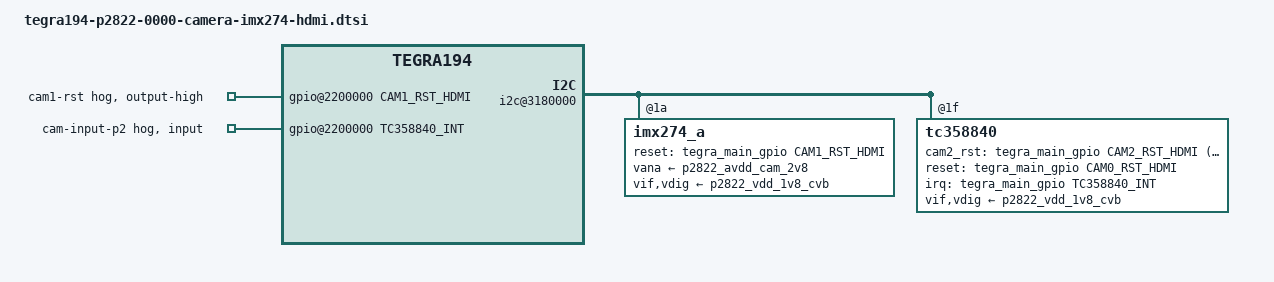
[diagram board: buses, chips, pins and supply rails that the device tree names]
/*
 * Copyright (c) 2015-2018, NVIDIA CORPORATION.  All rights reserved.
 *
 * This program is free software; you can redistribute it and/or modify
 * it under the terms of the GNU General Public License as published by
 * the Free Software Foundation; either version 2 of the License, or
 * (at your option) any later version.
 *
 * This program is distributed in the hope that it will be useful, but WITHOUT
 * ANY WARRANTY; without even the implied warranty of MERCHANTABILITY or
 * FITNESS FOR A PARTICULAR PURPOSE.  See the GNU General Public License for
 * more details.
 *
 * You should have received a copy of the GNU General Public License
 * along with this program.  If not, see <http://www.gnu.org/licenses/>.
 */

#include <t19x-common-modules/tegra194-camera-imx274-hdmi.dtsi>
#include "dt-bindings/clock/tegra194-clock.h"

#define CAM0_RST_HDMI	TEGRA194_MAIN_GPIO(H, 4)
#define CAM1_RST_HDMI	TEGRA194_MAIN_GPIO(T, 6)
#define CAM2_RST_HDMI	TEGRA194_MAIN_GPIO(Q, 6) /* 40-pin conn., pin 22 */
#define TC358840_INT	TEGRA194_MAIN_GPIO(Q, 1) /* 40-pin conn., pin 7 */
/* camera control gpio definitions */

/ {
	i2c@3180000 {
		imx274_a@1a {
			/* Define any required hw resources needed by driver */
			/* ie. clocks, io pins, power sources */
			clocks = <&bpmp_clks TEGRA194_CLK_EXTPERIPH2>,
					 <&bpmp_clks TEGRA194_CLK_PLLP_OUT0>;
			clock-names = "extperiph2", "pllp_grtba";
			mclk = "extperiph2";
			status = "okay";
			reset-gpios = <&tegra_main_gpio CAM1_RST_HDMI GPIO_ACTIVE_HIGH>;
			vana-supply = <&p2822_avdd_cam_2v8>;
			vif-supply = <&p2822_vdd_1v8_cvb>;
			/* rework: also enables VDD_1V_SATA_PHY (1.18 V) */
			vdig-supply = <&p2822_vdd_1v8_cvb>;
		};
		tc358840@1f {
			single-source-max-width = "1920";
			mclk = "extperiph2";
			cam2_rst   = <&tegra_main_gpio CAM2_RST_HDMI GPIO_ACTIVE_LOW>;
			vif-supply = <&p2822_vdd_1v8_cvb>;
			/* rework: also enables VDD_1V_SATA_PHY (1.18 V) */
			vdig-supply = <&p2822_vdd_1v8_cvb>;
			reset-gpios = <&tegra_main_gpio CAM0_RST_HDMI GPIO_ACTIVE_HIGH>;
			interrupt-parent = <&tegra_main_gpio>;
			interrupts = <TC358840_INT GPIO_ACTIVE_HIGH>;

			refclk_hz = <40000000>; /* 40 - 50 MHz */

			ddc5v_delay = <1>;        /* 50 ms */

			/* HDCP */
			/* TODO: Not yet implemented */
			enable_hdcp = <0>;

			/* CSI Output */
			csi_port = <1>;            /* Enable TX0 only */

			lineinitcnt = <0x00000FA0>;
			lptxtimecnt = <0x00000004>;
			tclk_headercnt = <0x00180203>;
			tclk_trailcnt = <0x00040005>;
			ths_headercnt = <0x000D0004>;
			twakeup = <0x00003E80>;
			tclk_postcnt = <0x0000000A>;
			ths_trailcnt = <0x00080006>;
			hstxvregcnt = <0x00000020>;
			btacnt = <0>;

			/* PLL */
			/* Bps per lane is (refclk_hz / pll_prd) * pll_fbd */
			pll_prd = <10>;
			pll_fbd = <230>;
			pll_frs = <0>;
		};
	};

	gpio@2200000 {
		camera-control-output-high {
			status = "okay";
			gpio-hog;
			gpios = <CAM1_RST_HDMI 0>;
			output-high;
			label = "cam1-rst";
		};
		camera-control-input {
			status = "okay";
			gpio-hog;
			gpios = <TC358840_INT 0>;
			input;
			label = "cam-input-p2";
		};
	};

};
